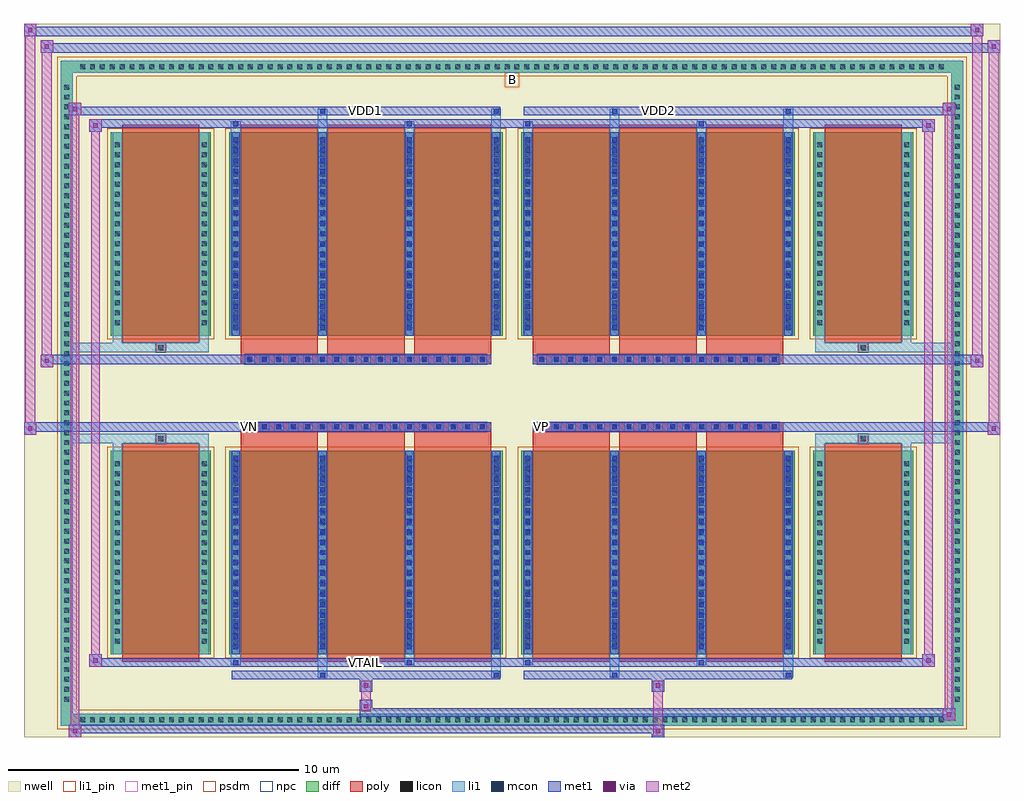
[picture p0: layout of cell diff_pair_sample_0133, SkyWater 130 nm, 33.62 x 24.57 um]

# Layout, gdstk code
import gdstk
lib = gdstk.Library(unit=1e-6, precision=5e-09)
def R(c, l, rs):  # rectangles x0, y0, x1, y1
    for r in rs: c.add(gdstk.rectangle(r[:2], r[2:], *l))
def A(c, l, x, y, w, h, nx, ny, dx, dy):  # array of equal rectangles
    R(c, l, [(x+i*dx, y+j*dy, x+i*dx+w, y+j*dy+h) for i in range(nx) for j in range(ny)])
def P(c, l, *ps):  # polygons
    for p in ps: c.add(gdstk.Polygon(p, *l))
nwell = (64, 20)
diff = (65, 20)
poly = (66, 20)
licon = (66, 44)
li1_pin = (67, 16)
li1 = (67, 20)
mcon = (67, 44)
met1_pin = (68, 16)
met1 = (68, 20)
via = (68, 44)
met2 = (69, 20)
psdm = (94, 20)
npc = (95, 20)

diff_pair_sample_0133 = lib.new_cell('diff_pair_sample_0133')
R(diff_pair_sample_0133, nwell, [(-16.81,-11.85,16.81,12.72), (-14.13,-10.04,-0.01,-0.8), (0.01,-10.04,14.13,-0.8), (-14.13,0.8,-0.01,10.04), (0.01,0.8,14.13,10.04)])
A(diff_pair_sample_0133, diff, -14.995, -11.45, 0.41, 0.41, 88, 2, 0.34, 22.49)
A(diff_pair_sample_0133, diff, -15.54, -10.745, 0.41, 0.41, 1, 63, 0, 0.34)
A(diff_pair_sample_0133, diff, 15.13, -10.745, 0.41, 0.41, 1, 63, 0, 0.34)
R(diff_pair_sample_0133, diff, [(-14.995,-11.45,14.995,-11.04), (-15.54,-10.745,-15.13,10.745), (15.13,-10.745,15.54,10.745), (-13.82,-8.995,-10.38,-1.985), (-9.74,-8.995,-0.32,-1.985), (0.32,-8.995,9.74,-1.985), (10.38,-8.995,13.82,-1.985), (-13.82,1.985,-10.38,8.995), (-9.74,1.985,-0.32,8.995), (0.32,1.985,9.74,8.995), (10.38,1.985,13.82,8.995), (-14.995,11.04,14.995,11.45)])
P(diff_pair_sample_0133, diff, [(15.54,11.45),(-15.54,11.45),(-15.54,-11.04),(-15.13,-11.04),(-15.13,11.04),(15.13,11.04),(15.13,-11.04),(-15.13,-11.04),(-15.54,-11.04),(-15.54,-11.45),(15.54,-11.45)])
A(diff_pair_sample_0133, poly, -9.35, -9.245, 2.66, 7.51, 3, 2, 2.99, 10.98)
A(diff_pair_sample_0133, poly, 0.71, -9.245, 2.66, 7.51, 3, 2, 2.99, 10.98)
A(diff_pair_sample_0133, poly, -9.35, -1.735, 2.66, 0.405, 3, 2, 2.99, 3.065)
A(diff_pair_sample_0133, poly, 0.71, -1.735, 2.66, 0.405, 3, 2, 2.99, 3.065)
A(diff_pair_sample_0133, poly, -9.195, -1.33, 0.33, 0.33, 17, 2, 0.5, 2.33)
A(diff_pair_sample_0133, poly, 0.865, -1.33, 0.33, 0.33, 17, 2, 0.5, 2.33)
R(diff_pair_sample_0133, poly, [(-13.43,-9.245,-10.77,-1.735), (10.77,-9.245,13.43,-1.735), (-12.265,-1.735,-11.935,-1.405), (-12.265,-1.735,-11.935,-1.405), (11.935,-1.735,12.265,-1.405), (11.935,-1.735,12.265,-1.405), (-9.35,-1.33,-0.71,-1), (0.71,-1.33,9.35,-1), (-9.35,1,-0.71,1.33), (0.71,1,9.35,1.33), (-12.265,1.405,-11.935,1.735), (-12.265,1.405,-11.935,1.735), (11.935,1.405,12.265,1.735), (11.935,1.405,12.265,1.735), (-13.43,1.735,-10.77,9.245), (10.77,1.735,13.43,9.245)])
A(diff_pair_sample_0133, licon, -14.875, -11.33, 0.17, 0.17, 88, 2, 0.34, 22.49)
A(diff_pair_sample_0133, licon, -15.42, -10.625, 0.17, 0.17, 1, 63, 0, 0.34)
A(diff_pair_sample_0133, licon, 15.25, -10.625, 0.17, 0.17, 1, 63, 0, 0.34)
A(diff_pair_sample_0133, licon, -13.68, -8.635, 0.17, 0.17, 1, 19, 0, 0.34)
A(diff_pair_sample_0133, licon, -10.69, -8.635, 0.17, 0.17, 1, 19, 0, 0.34)
A(diff_pair_sample_0133, licon, -9.6, -8.635, 0.17, 0.17, 4, 19, 2.99, 0.34)
A(diff_pair_sample_0133, licon, 0.46, -8.635, 0.17, 0.17, 4, 19, 2.99, 0.34)
A(diff_pair_sample_0133, licon, 10.52, -8.635, 0.17, 0.17, 1, 19, 0, 0.34)
A(diff_pair_sample_0133, licon, 13.51, -8.635, 0.17, 0.17, 1, 19, 0, 0.34)
A(diff_pair_sample_0133, licon, -9.115, -1.25, 0.17, 0.17, 17, 2, 0.5, 2.33)
A(diff_pair_sample_0133, licon, 0.945, -1.25, 0.17, 0.17, 17, 2, 0.5, 2.33)
A(diff_pair_sample_0133, licon, -13.68, 2.345, 0.17, 0.17, 1, 19, 0, 0.34)
A(diff_pair_sample_0133, licon, -10.69, 2.345, 0.17, 0.17, 1, 19, 0, 0.34)
A(diff_pair_sample_0133, licon, -9.6, 2.345, 0.17, 0.17, 4, 19, 2.99, 0.34)
A(diff_pair_sample_0133, licon, 0.46, 2.345, 0.17, 0.17, 4, 19, 2.99, 0.34)
A(diff_pair_sample_0133, licon, 10.52, 2.345, 0.17, 0.17, 1, 19, 0, 0.34)
A(diff_pair_sample_0133, licon, 13.51, 2.345, 0.17, 0.17, 1, 19, 0, 0.34)
R(diff_pair_sample_0133, licon, [(-12.185,-1.655,-12.015,-1.485), (12.015,-1.655,12.185,-1.485), (-12.185,1.485,-12.015,1.655), (12.015,1.485,12.185,1.655)])
R(diff_pair_sample_0133, li1_pin, [(-0.25,10.54,0.25,11.04)])
A(diff_pair_sample_0133, li1, -14.955, -11.41, 0.33, 0.33, 88, 2, 0.34, 22.49)
A(diff_pair_sample_0133, li1, -15.5, -10.705, 0.33, 0.33, 1, 63, 0, 0.34)
A(diff_pair_sample_0133, li1, 15.17, -10.705, 0.33, 0.33, 1, 63, 0, 0.34)
A(diff_pair_sample_0133, li1, -9.68, -8.995, 0.33, 7.01, 4, 2, 2.99, 10.98)
A(diff_pair_sample_0133, li1, 0.38, -8.995, 0.33, 7.01, 4, 2, 2.99, 10.98)
A(diff_pair_sample_0133, li1, -9.6, -8.815, 0.17, 0.17, 4, 19, 2.99, 0.36)
A(diff_pair_sample_0133, li1, -9.6, -8.815, 0.17, 6.65, 4, 2, 2.99, 10.98)
A(diff_pair_sample_0133, li1, 0.46, -8.815, 0.17, 0.17, 4, 19, 2.99, 0.36)
A(diff_pair_sample_0133, li1, 0.46, -8.815, 0.17, 6.65, 4, 2, 2.99, 10.98)
A(diff_pair_sample_0133, li1, -13.76, -8.715, 0.33, 0.33, 1, 19, 0, 0.34)
A(diff_pair_sample_0133, li1, -10.77, -8.715, 0.33, 0.33, 1, 19, 0, 0.34)
A(diff_pair_sample_0133, li1, -9.68, -8.715, 0.33, 0.33, 4, 19, 2.99, 0.34)
A(diff_pair_sample_0133, li1, 0.38, -8.715, 0.33, 0.33, 4, 19, 2.99, 0.34)
A(diff_pair_sample_0133, li1, 10.44, -8.715, 0.33, 0.33, 1, 19, 0, 0.34)
A(diff_pair_sample_0133, li1, 13.43, -8.715, 0.33, 0.33, 1, 19, 0, 0.34)
A(diff_pair_sample_0133, li1, -9.195, -1.33, 0.33, 0.33, 17, 2, 0.5, 2.33)
A(diff_pair_sample_0133, li1, 0.865, -1.33, 0.33, 0.33, 17, 2, 0.5, 2.33)
A(diff_pair_sample_0133, li1, -9.6, 2.165, 0.17, 0.17, 4, 19, 2.99, 0.36)
A(diff_pair_sample_0133, li1, 0.46, 2.165, 0.17, 0.17, 4, 19, 2.99, 0.36)
A(diff_pair_sample_0133, li1, -13.76, 2.265, 0.33, 0.33, 1, 19, 0, 0.34)
A(diff_pair_sample_0133, li1, -10.77, 2.265, 0.33, 0.33, 1, 19, 0, 0.34)
A(diff_pair_sample_0133, li1, -9.68, 2.265, 0.33, 0.33, 4, 19, 2.99, 0.34)
A(diff_pair_sample_0133, li1, 0.38, 2.265, 0.33, 0.33, 4, 19, 2.99, 0.34)
A(diff_pair_sample_0133, li1, 10.44, 2.265, 0.33, 0.33, 1, 19, 0, 0.34)
A(diff_pair_sample_0133, li1, 13.43, 2.265, 0.33, 0.33, 1, 19, 0, 0.34)
R(diff_pair_sample_0133, li1, [(-15.54,-11.45,-15.13,-11.04), (-15.54,-11.45,-15.13,-11.04), (-15.13,-11.45,15.13,-11.04), (15.13,-11.45,15.54,-11.04), (15.13,-11.45,15.54,-11.04), (-15.54,-11.04,-15.13,11.04), (15.13,-11.04,15.54,11.04), (-6.69,-9.8,-6.36,-8.995), (-6.61,-9.8,-6.44,-9.63), (-0.71,-9.8,-0.38,-8.995), (-0.63,-9.8,-0.46,-9.63), (3.37,-9.8,3.7,-8.995), (3.45,-9.8,3.62,-9.63), (9.35,-9.8,9.68,-8.995), (9.43,-9.8,9.6,-9.63), (-9.68,-9.37,-9.35,-8.995), (-9.6,-9.37,-9.43,-9.2), (-3.7,-9.37,-3.37,-8.995), (-3.62,-9.37,-3.45,-9.2), (0.38,-9.37,0.71,-8.995), (0.46,-9.37,0.63,-9.2), (6.36,-9.37,6.69,-8.995), (6.44,-9.37,6.61,-9.2), (-13.76,-8.995,-13.43,-1.985), (-10.77,-8.995,-10.44,-1.985), (10.44,-8.995,10.77,-1.985), (13.43,-8.995,13.76,-1.985), (-13.76,-1.985,-13.43,-1.405), (-10.77,-1.985,-10.44,-1.405), (10.44,-1.985,10.77,-1.405), (13.43,-1.985,13.76,-1.405), (-15.54,-1.735,-12.265,-1.405), (-13.76,-1.735,-12.265,-1.405), (-12.265,-1.735,-11.935,-1.405), (-11.935,-1.735,-10.44,-1.405), (10.44,-1.735,11.935,-1.405), (11.935,-1.735,12.265,-1.405), (11.935,-1.735,15.54,-1.405), (12.265,-1.735,13.76,-1.405), (-15.54,1.405,-12.265,1.735), (-13.76,1.405,-12.265,1.735), (-13.76,1.405,-13.43,1.985), (-12.265,1.405,-11.935,1.735), (-11.935,1.405,-10.44,1.735), (-10.77,1.405,-10.44,1.985), (10.44,1.405,11.935,1.735), (10.44,1.405,10.77,1.985), (11.935,1.405,12.265,1.735), (11.935,1.405,15.54,1.735), (12.265,1.405,13.76,1.735), (13.43,1.405,13.76,1.985), (-13.76,1.985,-13.43,8.995), (-10.77,1.985,-10.44,8.995), (10.44,1.985,10.77,8.995), (13.43,1.985,13.76,8.995), (-9.68,8.995,-9.35,9.37), (-6.69,8.995,-6.36,9.8), (-3.7,8.995,-3.37,9.37), (-0.71,8.995,-0.38,9.8), (0.38,8.995,0.71,9.37), (3.37,8.995,3.7,9.8), (6.36,8.995,6.69,9.37), (9.35,8.995,9.68,9.8), (-9.6,9.2,-9.43,9.37), (-3.62,9.2,-3.45,9.37), (0.46,9.2,0.63,9.37), (6.44,9.2,6.61,9.37), (-6.61,9.63,-6.44,9.8), (-0.63,9.63,-0.46,9.8), (3.45,9.63,3.62,9.8), (9.43,9.63,9.6,9.8), (-15.54,11.04,-15.13,11.45), (-15.54,11.04,-15.13,11.45), (-15.13,11.04,15.13,11.45), (15.13,11.04,15.54,11.45), (15.13,11.04,15.54,11.45)])
A(diff_pair_sample_0133, mcon, -9.6, -8.815, 0.17, 0.17, 4, 19, 2.99, 0.36)
A(diff_pair_sample_0133, mcon, 0.46, -8.815, 0.17, 0.17, 4, 19, 2.99, 0.36)
A(diff_pair_sample_0133, mcon, -9.115, -1.25, 0.17, 0.17, 17, 2, 0.5, 2.33)
A(diff_pair_sample_0133, mcon, 0.945, -1.25, 0.17, 0.17, 17, 2, 0.5, 2.33)
A(diff_pair_sample_0133, mcon, -9.6, 2.165, 0.17, 0.17, 4, 19, 2.99, 0.36)
A(diff_pair_sample_0133, mcon, 0.46, 2.165, 0.17, 0.17, 4, 19, 2.99, 0.36)
R(diff_pair_sample_0133, mcon, [(-6.61,-9.8,-6.44,-9.63), (-0.63,-9.8,-0.46,-9.63), (3.45,-9.8,3.62,-9.63), (9.43,-9.8,9.6,-9.63), (-9.6,-9.37,-9.43,-9.2), (-3.62,-9.37,-3.45,-9.2), (0.46,-9.37,0.63,-9.2), (6.44,-9.37,6.61,-9.2), (-9.6,9.2,-9.43,9.37), (-3.62,9.2,-3.45,9.37), (0.46,9.2,0.63,9.37), (6.44,9.2,6.61,9.37), (-6.61,9.63,-6.44,9.8), (-0.63,9.63,-0.46,9.8), (3.45,9.63,3.62,9.8), (9.43,9.63,9.6,9.8)])
R(diff_pair_sample_0133, met1_pin, [(-5.165,-9.41,-4.895,-9.14), (-9.165,-1.29,-8.895,-1.02), (0.895,-1.29,1.165,-1.02), (-5.165,9.59,-4.895,9.86), (4.895,9.59,5.165,9.86)])
A(diff_pair_sample_0133, met1, -9.66, -8.995, 0.29, 7.01, 4, 2, 2.99, 10.98)
A(diff_pair_sample_0133, met1, 0.4, -8.995, 0.29, 7.01, 4, 2, 2.99, 10.98)
A(diff_pair_sample_0133, met1, -9.66, -8.875, 0.29, 0.29, 4, 19, 2.99, 0.36)
A(diff_pair_sample_0133, met1, 0.4, -8.875, 0.29, 0.29, 4, 19, 2.99, 0.36)
A(diff_pair_sample_0133, met1, -9.175, -1.31, 0.29, 0.29, 17, 2, 0.5, 2.33)
A(diff_pair_sample_0133, met1, 0.885, -1.31, 0.29, 0.29, 17, 2, 0.5, 2.33)
A(diff_pair_sample_0133, met1, -9.66, 2.105, 0.29, 0.29, 4, 19, 2.99, 0.36)
A(diff_pair_sample_0133, met1, 0.4, 2.105, 0.29, 0.29, 4, 19, 2.99, 0.36)
R(diff_pair_sample_0133, met1, [(-15.27,-11.85,-14.84,-11.42), (4.815,-11.85,5.245,-11.42), (-15.27,-11.71,5.245,-11.42), (14.84,-11.28,15.27,-10.85), (-5.245,-11.14,15.27,-10.85), (-5.245,-11,-4.815,-10.57), (-5.245,-10.29,-4.815,-9.86), (4.815,-10.29,5.245,-9.86), (-9.66,-9.86,-0.4,-9.57), (-6.67,-9.86,-6.38,-9.57), (-0.69,-9.86,-0.4,-9.57), (0.4,-9.86,9.66,-9.57), (3.39,-9.86,3.68,-9.57), (9.37,-9.86,9.66,-9.57), (-14.56,-9.43,-14.13,-9), (-14.56,-9.43,-9.66,-9.14), (-9.66,-9.43,-9.37,-9.14), (-9.66,-9.43,-0.4,-9.14), (-3.68,-9.43,-3.39,-9.14), (-0.4,-9.43,0.4,-9.14), (0.4,-9.43,0.69,-9.14), (0.4,-9.43,9.66,-9.14), (6.38,-9.43,6.67,-9.14), (9.66,-9.43,14.56,-9.14), (14.13,-9.43,14.56,-9), (-16.81,-1.43,-16.38,-1), (16.38,-1.43,16.81,-1), (-16.81,-1.33,-0.71,-1), (-9.35,-1.33,-0.71,-1), (0.71,-1.33,9.35,-1), (0.71,-1.33,16.81,-1), (-16.24,0.9,-15.81,1.33), (15.81,0.9,16.24,1.33), (-16.24,1,-9.35,1.33), (-9.35,1,-0.71,1.33), (0.71,1,9.35,1.33), (9.35,1,16.24,1.33), (-14.56,9,-14.13,9.43), (14.13,9,14.56,9.43), (-14.56,9.14,-9.66,9.43), (-9.66,9.14,-9.37,9.43), (-9.66,9.14,-0.4,9.43), (-3.68,9.14,-3.39,9.43), (-0.4,9.14,0.4,9.43), (0.4,9.14,0.69,9.43), (0.4,9.14,9.66,9.43), (6.38,9.14,6.67,9.43), (9.66,9.14,14.56,9.43), (-15.27,9.57,-14.84,10), (-15.27,9.57,-9.66,9.86), (-9.66,9.57,-0.4,9.86), (-6.67,9.57,-6.38,9.86), (-0.69,9.57,-0.4,9.86), (0.4,9.57,9.66,9.86), (3.39,9.57,3.68,9.86), (9.37,9.57,9.66,9.86), (9.66,9.57,15.27,9.86), (14.84,9.57,15.27,10), (-16.24,11.72,-15.81,12.15), (-16.24,11.72,-14.13,12.05), (-14.13,11.72,14.13,12.05), (14.13,11.72,16.81,12.05), (16.38,11.72,16.81,12.15), (-16.81,12.29,-16.38,12.72), (-16.81,12.29,-14.13,12.62), (-14.13,12.29,14.13,12.62), (14.13,12.29,16.24,12.62), (15.81,12.29,16.24,12.72)])
R(diff_pair_sample_0133, via, [(-15.13,-11.71,-14.98,-11.56), (4.955,-11.71,5.105,-11.56), (14.98,-11.14,15.13,-10.99), (-5.105,-10.86,-4.955,-10.71), (-5.105,-10.15,-4.955,-10), (4.955,-10.15,5.105,-10), (-14.42,-9.29,-14.27,-9.14), (14.27,-9.29,14.42,-9.14), (-16.67,-1.29,-16.52,-1.14), (16.52,-1.29,16.67,-1.14), (-16.1,1.04,-15.95,1.19), (15.95,1.04,16.1,1.19), (-14.42,9.14,-14.27,9.29), (14.27,9.14,14.42,9.29), (-15.13,9.71,-14.98,9.86), (14.98,9.71,15.13,9.86), (-16.1,11.86,-15.95,12.01), (16.52,11.86,16.67,12.01), (-16.67,12.43,-16.52,12.58), (15.95,12.43,16.1,12.58)])
R(diff_pair_sample_0133, met2, [(-15.27,-11.85,-14.84,-11.42), (-15.2,-11.85,-14.91,10), (-14.91,-11.85,-14.84,-11.42), (-15.22,-11.8,-14.89,-11.47), (4.865,-11.8,5.195,-11.47), (4.865,-11.47,5.195,-10.24), (14.84,-11.28,15.27,-10.85), (14.91,-11.28,15.2,10), (15.2,-11.28,15.27,-10.85), (14.89,-11.23,15.22,-10.9), (-5.195,-10.95,-4.865,-10.62), (-5.195,-10.62,-4.865,-10.24), (-5.195,-10.24,-4.865,-9.91), (4.865,-10.24,5.195,-9.91), (-14.56,-9.43,-14.13,-9), (-14.49,-9.43,-14.2,9.43), (-14.2,-9.43,-14.13,-9), (14.13,-9.43,14.56,-9), (14.2,-9.43,14.49,9.43), (14.49,-9.43,14.56,-9), (-14.51,-9.38,-14.18,-9.05), (14.18,-9.38,14.51,-9.05), (-16.81,-1.43,-16.38,-1), (-16.76,-1.43,-16.43,12.72), (-16.43,-1.43,-16.38,-1), (16.38,-1.43,16.81,-1), (16.43,-1.43,16.76,12.15), (16.76,-1.43,16.81,-1), (-16.76,-1.38,-16.43,-1.05), (16.43,-1.38,16.76,-1.05), (-16.24,0.9,-15.81,1.33), (-16.19,0.9,-15.86,12.15), (-15.86,0.9,-15.81,1.33), (15.81,0.9,16.24,1.33), (15.86,0.9,16.19,12.72), (16.19,0.9,16.24,1.33), (-16.19,0.95,-15.86,1.28), (15.86,0.95,16.19,1.28), (-14.56,9,-14.13,9.43), (-14.2,9,-14.13,9.43), (14.13,9,14.56,9.43), (14.49,9,14.56,9.43), (-14.51,9.05,-14.18,9.38), (14.18,9.05,14.51,9.38), (-15.27,9.57,-14.84,10), (-14.91,9.57,-14.84,10), (14.84,9.57,15.27,10), (15.2,9.57,15.27,10), (-15.22,9.62,-14.89,9.95), (14.89,9.62,15.22,9.95), (-16.24,11.72,-15.81,12.15), (-15.86,11.72,-15.81,12.15), (16.38,11.72,16.81,12.15), (16.76,11.72,16.81,12.15), (-16.19,11.77,-15.86,12.1), (16.43,11.77,16.76,12.1), (-16.81,12.29,-16.38,12.72), (-16.43,12.29,-16.38,12.72), (15.81,12.29,16.24,12.72), (16.19,12.29,16.24,12.72), (-16.76,12.34,-16.43,12.67), (15.86,12.34,16.19,12.67)])
R(diff_pair_sample_0133, psdm, [(-13.95,-9.125,-10.25,-1.855), (-9.87,-9.125,-0.19,-1.855), (0.19,-9.125,9.87,-1.855), (10.25,-9.125,13.95,-1.855), (-13.95,1.855,-10.25,9.125), (-9.87,1.855,-0.19,9.125), (0.19,1.855,9.87,9.125), (10.25,1.855,13.95,9.125)])
P(diff_pair_sample_0133, psdm, [(15.67,11.58),(-15.67,11.58),(-15.67,-10.91),(-15,-10.91),(-15,10.91),(15,10.91),(15,-10.91),(-15,-10.91),(-15.67,-10.91),(-15.67,-11.58),(15.67,-11.58)])
A(diff_pair_sample_0133, npc, -9.215, -1.35, 0.37, 0.37, 17, 2, 0.5, 2.33)
A(diff_pair_sample_0133, npc, 0.845, -1.35, 0.37, 0.37, 17, 2, 0.5, 2.33)
R(diff_pair_sample_0133, npc, [(-12.285,-1.755,-11.915,-1.385), (11.915,-1.755,12.285,-1.385), (-9.215,-1.35,-8.345,-0.98), (-9.215,-1.35,-8.345,-0.98), (-8.715,-1.35,-7.845,-0.98), (-8.715,-1.35,-7.845,-0.98), (-8.215,-1.35,-7.345,-0.98), (-8.215,-1.35,-7.345,-0.98), (-7.715,-1.35,-6.845,-0.98), (-7.715,-1.35,-6.845,-0.98), (-7.215,-1.35,-6.345,-0.98), (-7.215,-1.35,-6.345,-0.98), (-6.715,-1.35,-5.845,-0.98), (-6.715,-1.35,-5.845,-0.98), (-6.215,-1.35,-5.345,-0.98), (-6.215,-1.35,-5.345,-0.98), (-5.715,-1.35,-4.845,-0.98), (-5.715,-1.35,-4.845,-0.98), (-5.215,-1.35,-4.345,-0.98), (-5.215,-1.35,-4.345,-0.98), (-4.715,-1.35,-3.845,-0.98), (-4.715,-1.35,-3.845,-0.98), (-4.215,-1.35,-3.345,-0.98), (-4.215,-1.35,-3.345,-0.98), (-3.715,-1.35,-2.845,-0.98), (-3.715,-1.35,-2.845,-0.98), (-3.215,-1.35,-2.345,-0.98), (-3.215,-1.35,-2.345,-0.98), (-2.715,-1.35,-1.845,-0.98), (-2.715,-1.35,-1.845,-0.98), (-2.215,-1.35,-1.345,-0.98), (-2.215,-1.35,-1.345,-0.98), (-1.715,-1.35,-0.845,-0.98), (-1.715,-1.35,-0.845,-0.98), (0.845,-1.35,1.715,-0.98), (0.845,-1.35,1.715,-0.98), (1.345,-1.35,2.215,-0.98), (1.345,-1.35,2.215,-0.98), (1.845,-1.35,2.715,-0.98), (1.845,-1.35,2.715,-0.98), (2.345,-1.35,3.215,-0.98), (2.345,-1.35,3.215,-0.98), (2.845,-1.35,3.715,-0.98), (2.845,-1.35,3.715,-0.98), (3.345,-1.35,4.215,-0.98), (3.345,-1.35,4.215,-0.98), (3.845,-1.35,4.715,-0.98), (3.845,-1.35,4.715,-0.98), (4.345,-1.35,5.215,-0.98), (4.345,-1.35,5.215,-0.98), (4.845,-1.35,5.715,-0.98), (4.845,-1.35,5.715,-0.98), (5.345,-1.35,6.215,-0.98), (5.345,-1.35,6.215,-0.98), (5.845,-1.35,6.715,-0.98), (5.845,-1.35,6.715,-0.98), (6.345,-1.35,7.215,-0.98), (6.345,-1.35,7.215,-0.98), (6.845,-1.35,7.715,-0.98), (6.845,-1.35,7.715,-0.98), (7.345,-1.35,8.215,-0.98), (7.345,-1.35,8.215,-0.98), (7.845,-1.35,8.715,-0.98), (7.845,-1.35,8.715,-0.98), (8.345,-1.35,9.215,-0.98), (8.345,-1.35,9.215,-0.98), (-9.215,0.98,-8.345,1.35), (-9.215,0.98,-8.345,1.35), (-8.715,0.98,-7.845,1.35), (-8.715,0.98,-7.845,1.35), (-8.215,0.98,-7.345,1.35), (-8.215,0.98,-7.345,1.35), (-7.715,0.98,-6.845,1.35), (-7.715,0.98,-6.845,1.35), (-7.215,0.98,-6.345,1.35), (-7.215,0.98,-6.345,1.35), (-6.715,0.98,-5.845,1.35), (-6.715,0.98,-5.845,1.35), (-6.215,0.98,-5.345,1.35), (-6.215,0.98,-5.345,1.35), (-5.715,0.98,-4.845,1.35), (-5.715,0.98,-4.845,1.35), (-5.215,0.98,-4.345,1.35), (-5.215,0.98,-4.345,1.35), (-4.715,0.98,-3.845,1.35), (-4.715,0.98,-3.845,1.35), (-4.215,0.98,-3.345,1.35), (-4.215,0.98,-3.345,1.35), (-3.715,0.98,-2.845,1.35), (-3.715,0.98,-2.845,1.35), (-3.215,0.98,-2.345,1.35), (-3.215,0.98,-2.345,1.35), (-2.715,0.98,-1.845,1.35), (-2.715,0.98,-1.845,1.35), (-2.215,0.98,-1.345,1.35), (-2.215,0.98,-1.345,1.35), (-1.715,0.98,-0.845,1.35), (-1.715,0.98,-0.845,1.35), (0.845,0.98,1.715,1.35), (0.845,0.98,1.715,1.35), (1.345,0.98,2.215,1.35), (1.345,0.98,2.215,1.35), (1.845,0.98,2.715,1.35), (1.845,0.98,2.715,1.35), (2.345,0.98,3.215,1.35), (2.345,0.98,3.215,1.35), (2.845,0.98,3.715,1.35), (2.845,0.98,3.715,1.35), (3.345,0.98,4.215,1.35), (3.345,0.98,4.215,1.35), (3.845,0.98,4.715,1.35), (3.845,0.98,4.715,1.35), (4.345,0.98,5.215,1.35), (4.345,0.98,5.215,1.35), (4.845,0.98,5.715,1.35), (4.845,0.98,5.715,1.35), (5.345,0.98,6.215,1.35), (5.345,0.98,6.215,1.35), (5.845,0.98,6.715,1.35), (5.845,0.98,6.715,1.35), (6.345,0.98,7.215,1.35), (6.345,0.98,7.215,1.35), (6.845,0.98,7.715,1.35), (6.845,0.98,7.715,1.35), (7.345,0.98,8.215,1.35), (7.345,0.98,8.215,1.35), (7.845,0.98,8.715,1.35), (7.845,0.98,8.715,1.35), (8.345,0.98,9.215,1.35), (8.345,0.98,9.215,1.35), (-12.285,1.385,-11.915,1.755), (11.915,1.385,12.285,1.755)])
diff_pair_sample_0133.add(gdstk.Label('VTAIL', (-5.03,-9.275), layer=68, texttype=5))
diff_pair_sample_0133.add(gdstk.Label('VN', (-9.03,-1.155), layer=68, texttype=5))
diff_pair_sample_0133.add(gdstk.Label('VP', (1.03,-1.155), layer=68, texttype=5))
diff_pair_sample_0133.add(gdstk.Label('B', (0,10.79), layer=67, texttype=5))
diff_pair_sample_0133.add(gdstk.Label('VDD2', (5.03,9.725), layer=68, texttype=5))
diff_pair_sample_0133.add(gdstk.Label('VDD1', (-5.03,9.725), layer=68, texttype=5))

lib.write_gds('diff_pair_sample_0133.gds')
